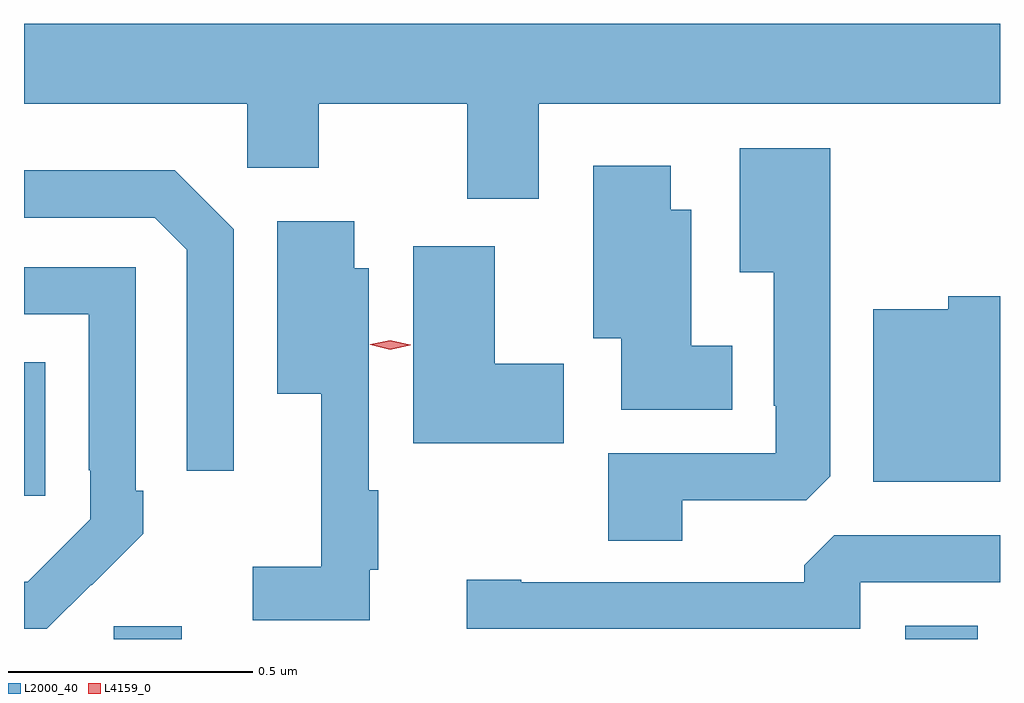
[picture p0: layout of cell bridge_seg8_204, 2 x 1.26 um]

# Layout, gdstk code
import gdstk
lib = gdstk.Library(unit=1e-6, precision=1e-09)
def R(c, l, rs):  # rectangles x0, y0, x1, y1
    for r in rs: c.add(gdstk.rectangle(r[:2], r[2:], *l))
def P(c, l, *ps):  # polygons
    for p in ps: c.add(gdstk.Polygon(p, *l))
L2000_40 = (2000, 40)
L4159_0 = (4159, 0)

bridge_seg8_204 = lib.new_cell('bridge_seg8_204')
R(bridge_seg8_204, L2000_40, [(174.735,1099.419,174.874,1099.446), (176.357,1099.419,176.505,1099.447), (174.551,1099.713,174.595,1099.987)])
P(bridge_seg8_204, L2000_40, [(174.551,1100.516),(175.008,1100.516),(175.008,1100.385),(175.155,1100.385),(175.155,1100.516),(175.459,1100.516),(175.459,1100.322),(175.606,1100.322),(175.606,1100.516),(176.551,1100.516),(176.551,1100.68),(174.551,1100.68)],
  [(175.9,1099.704),(176.154,1099.704),(176.203,1099.753),(176.203,1100.425),(176.018,1100.425),(176.018,1100.171),(176.087,1100.171),(176.087,1099.897),(176.091,1099.897),(176.091,1099.8),(175.748,1099.8),(175.748,1099.621),(175.9,1099.621)],
  [(176.002,1100.02),(175.918,1100.02),(175.918,1100.299),(175.876,1100.299),(175.876,1100.389),(175.718,1100.389),(175.718,1100.036),(175.775,1100.036),(175.775,1099.889),(176.002,1099.889)],
  [(174.981,1100.259),(174.86,1100.38),(174.551,1100.38),(174.551,1100.283),(174.819,1100.283),(174.885,1100.217),(174.885,1099.764),(174.981,1099.764)],
  [(175.259,1099.561),(175.277,1099.561),(175.277,1099.724),(175.257,1099.724),(175.257,1100.179),(175.228,1100.179),(175.228,1100.275),(175.07,1100.275),(175.07,1099.922),(175.16,1099.922),(175.16,1099.567),(175.02,1099.567),(175.02,1099.458),(175.259,1099.458)],
  [(175.657,1099.983),(175.516,1099.983),(175.516,1100.224),(175.349,1100.224),(175.349,1099.82),(175.657,1099.82)],
  [(174.689,1099.531),(174.69,1099.53),(174.795,1099.635),(174.795,1099.723),(174.78,1099.723),(174.78,1100.181),(174.551,1100.181),(174.551,1100.085),(174.684,1100.085),(174.684,1099.765),(174.687,1099.765),(174.687,1099.665),(174.559,1099.537),(174.551,1099.537),(174.551,1099.44),(174.598,1099.44)],
  [(176.551,1100.122),(176.445,1100.122),(176.445,1100.095),(176.291,1100.095),(176.291,1099.742),(176.551,1099.742)],
  [(176.265,1099.536),(176.551,1099.536),(176.551,1099.632),(176.211,1099.632),(176.15,1099.57),(176.15,1099.536),(175.57,1099.536),(175.57,1099.541),(175.458,1099.541),(175.458,1099.44),(176.265,1099.44)])
P(bridge_seg8_204, L4159_0, [(175.302,1100.012),(175.261,1100.022),(175.261,1100.022),(175.261,1100.023),(175.302,1100.032),(175.343,1100.022),(175.344,1100.022),(175.343,1100.021)])

lib.write_gds('bridge_seg8_204.gds')
